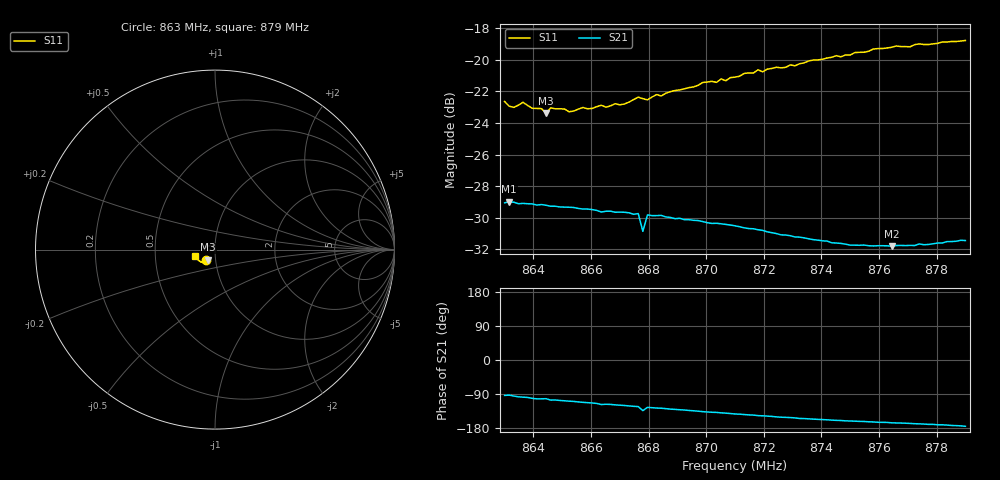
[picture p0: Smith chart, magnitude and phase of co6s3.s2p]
# HZ S RI R 50
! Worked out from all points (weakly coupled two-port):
!   101 points, 863 MHz to 879 MHz, reference 50 ohm
!   highest |S21| = -28.99 dB at 863.16 MHz (marker M1); lowest = -31.8 dB at 876.44 MHz (marker M2)
!   lowest |S11| = -23.4 dB at 864.44 MHz (marker M3), VSWR 1.15, Z = 46 - j5.14 ohm
!   |S11| at or under -10 dB: start of sweep to end of sweep
!   S12 and S22 are empty: the file has one direction only
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8.63e8  -0.0488 -0.0553  -0.00214 -0.0352  0 0  0 0
8.6316e8  -0.0422 -0.0575  -0.0017 -0.0355  0 0  0 0
8.6332e8  -0.0411 -0.0575  -0.00312 -0.0353  0 0  0 0
8.6364e8  -0.0451 -0.0579  -0.00491 -0.0348  0 0  0 0
8.6444e8  -0.0388 -0.0556  -0.00727 -0.0339  0 0  0 0
8.646e8  -0.0402 -0.0579  -0.00935 -0.0331  0 0  0 0
8.6524e8  -0.0385 -0.0566  -0.0109 -0.0324  0 0  0 0
8.6572e8  -0.0373 -0.06  -0.0125 -0.0313  0 0  0 0
8.67e8  -0.0374 -0.0615  -0.0161 -0.0288  0 0  0 0
8.6764e8  -0.0389 -0.0654  -0.0177 -0.0273  0 0  0 0
8.678e8  -0.0403 -0.0636  -0.0197 -0.0208  0 0  0 0
8.6796e8  -0.0381 -0.0642  -0.0185 -0.0265  0 0  0 0
8.6828e8  -0.0393 -0.0669  -0.0192 -0.0257  0 0  0 0
8.6844e8  -0.0398 -0.0657  -0.0195 -0.0256  0 0  0 0
8.6988e8  -0.0447 -0.072  -0.0222 -0.0213  0 0  0 0
8.71e8  -0.0522 -0.071  -0.0236 -0.0182  0 0  0 0
8.718e8  -0.0573 -0.0732  -0.0242 -0.0159  0 0  0 0
8.7196e8  -0.0571 -0.0716  -0.0243 -0.0156  0 0  0 0
8.7372e8  -0.069 -0.0721  -0.0246 -0.011  0 0  0 0
8.75e8  -0.0794 -0.0665  -0.0245 -0.00844  0 0  0 0
8.7644e8  -0.0925 -0.0586  -0.0249 -0.00631  0 0  0 0
8.79e8  -0.109 -0.037  -0.0267 -0.00241  0 0  0 0
